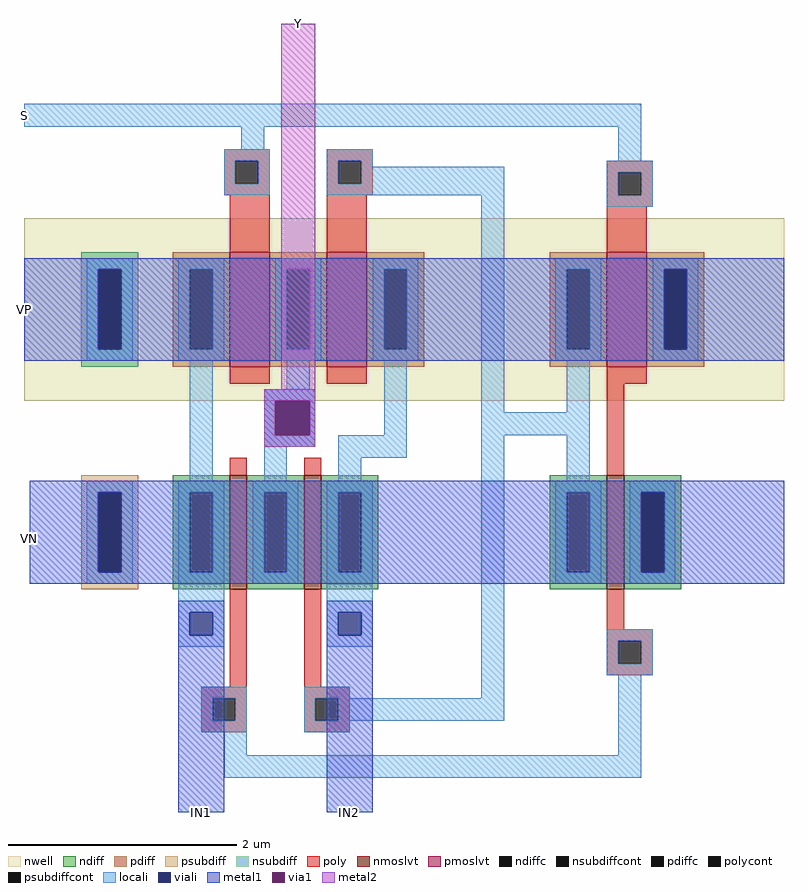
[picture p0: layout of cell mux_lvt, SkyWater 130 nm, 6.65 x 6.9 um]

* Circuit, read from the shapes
.subckt mux_lvt VP VN IN1 IN2 S Y
XM1 Y S IN1 VN sky130_fd_pr__nfet_01v8_lvt w=1 l=0.15
XM2 IN2 n1 Y VN sky130_fd_pr__nfet_01v8_lvt w=1 l=0.15
XM3 VN S n1 VN sky130_fd_pr__nfet_01v8_lvt w=1 l=0.15
XM4 Y S IN1 VP sky130_fd_pr__pfet_01v8_lvt w=1 l=0.35
XM5 IN2 n1 Y VP sky130_fd_pr__pfet_01v8_lvt w=1 l=0.35
XM6 VP S n1 VP sky130_fd_pr__pfet_01v8_lvt w=1 l=0.35
.ends

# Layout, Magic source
magic
tech sky130A
<< nwell >>
rect -180 170 485 330
<< pmoslvt >>
rect 0 200 35 300
rect 85 200 120 300
rect 330 200 365 300
<< nmoslvt >>
rect 0 5 15 105
rect 65 5 80 105
rect 330 5 345 105
<< ndiff >>
rect -50 90 0 105
rect -50 20 -35 90
rect -15 20 0 90
rect -50 5 0 20
rect 15 90 65 105
rect 15 20 30 90
rect 50 20 65 90
rect 15 5 65 20
rect 80 90 130 105
rect 80 20 95 90
rect 115 20 130 90
rect 80 5 130 20
rect 280 90 330 105
rect 280 20 295 90
rect 315 20 330 90
rect 280 5 330 20
rect 345 90 395 105
rect 345 20 360 90
rect 380 20 395 90
rect 345 5 395 20
<< pdiff >>
rect -50 285 0 300
rect -50 215 -35 285
rect -15 215 0 285
rect -50 200 0 215
rect 35 285 85 300
rect 35 215 50 285
rect 70 215 85 285
rect 35 200 85 215
rect 120 285 170 300
rect 120 215 135 285
rect 155 215 170 285
rect 120 200 170 215
rect 280 285 330 300
rect 280 215 295 285
rect 315 215 330 285
rect 280 200 330 215
rect 365 285 415 300
rect 365 215 380 285
rect 400 215 415 285
rect 365 200 415 215
<< ndiffc >>
rect -35 20 -15 90
rect 30 20 50 90
rect 95 20 115 90
rect 295 20 315 90
rect 360 20 380 90
<< pdiffc >>
rect -35 215 -15 285
rect 50 215 70 285
rect 135 215 155 285
rect 295 215 315 285
rect 380 215 400 285
<< psubdiff >>
rect -130 90 -80 105
rect -130 20 -115 90
rect -95 20 -80 90
rect -130 5 -80 20
<< nsubdiff >>
rect -130 285 -80 300
rect -130 215 -115 285
rect -95 215 -80 285
rect -130 200 -80 215
<< psubdiffcont >>
rect -115 20 -95 90
<< nsubdiffcont >>
rect -115 215 -95 285
<< poly >>
rect -5 380 35 390
rect -5 360 5 380
rect 25 360 35 380
rect -5 350 35 360
rect 0 300 35 350
rect 85 380 125 390
rect 85 360 95 380
rect 115 360 125 380
rect 85 350 125 360
rect 330 370 370 380
rect 330 350 340 370
rect 360 350 370 370
rect 85 300 120 350
rect 330 340 370 350
rect 330 300 365 340
rect 0 185 35 200
rect 85 185 120 200
rect 330 185 365 200
rect 0 105 15 120
rect 65 105 80 120
rect 330 105 345 185
rect 0 -80 15 5
rect -25 -90 15 -80
rect -25 -110 -15 -90
rect 5 -110 15 -90
rect -25 -120 15 -110
rect 65 -80 80 5
rect 330 -30 345 5
rect 330 -40 370 -30
rect 330 -60 340 -40
rect 360 -60 370 -40
rect 330 -70 370 -60
rect 65 -90 105 -80
rect 65 -110 75 -90
rect 95 -110 105 -90
rect 65 -120 105 -110
<< polycont >>
rect 5 360 25 380
rect 95 360 115 380
rect 340 350 360 370
rect -15 -110 5 -90
rect 340 -60 360 -40
rect 75 -110 95 -90
<< locali >>
rect -180 410 360 430
rect 10 390 30 410
rect -5 380 35 390
rect -5 360 5 380
rect 25 360 35 380
rect -5 350 35 360
rect 85 380 125 390
rect 340 380 360 410
rect 85 360 95 380
rect 115 375 125 380
rect 115 360 240 375
rect 85 350 240 360
rect -125 285 -85 295
rect -125 215 -115 285
rect -95 215 -85 285
rect -125 205 -85 215
rect -45 285 -5 295
rect -45 215 -35 285
rect -15 215 -5 285
rect -45 205 -5 215
rect 40 285 80 295
rect 40 215 50 285
rect 70 215 80 285
rect 40 205 80 215
rect 125 285 165 295
rect 125 215 135 285
rect 155 215 165 285
rect 125 205 165 215
rect -35 100 -15 205
rect 50 180 70 205
rect 30 170 75 180
rect 30 140 40 170
rect 70 140 75 170
rect 135 140 155 205
rect 30 130 75 140
rect 30 100 50 130
rect 95 120 155 140
rect 220 160 240 350
rect 330 370 370 380
rect 330 350 340 370
rect 360 350 370 370
rect 330 340 370 350
rect 285 285 325 295
rect 285 215 295 285
rect 315 215 325 285
rect 285 205 325 215
rect 370 285 410 295
rect 370 215 380 285
rect 400 215 410 285
rect 370 205 410 215
rect 295 160 315 205
rect 220 140 315 160
rect 95 100 115 120
rect -125 90 -85 100
rect -125 20 -115 90
rect -95 20 -85 90
rect -125 10 -85 20
rect -45 90 -5 100
rect -45 20 -35 90
rect -15 20 -5 90
rect -45 -15 -5 20
rect 20 90 60 100
rect 20 20 30 90
rect 50 20 60 90
rect 20 10 60 20
rect 85 90 125 100
rect 85 20 95 90
rect 115 20 125 90
rect -45 -35 -35 -15
rect -15 -35 -5 -15
rect -45 -45 -5 -35
rect 85 -15 125 20
rect 85 -35 95 -15
rect 115 -35 125 -15
rect 85 -45 125 -35
rect -25 -90 15 -80
rect -25 -110 -15 -90
rect 5 -110 15 -90
rect -25 -120 15 -110
rect 65 -90 105 -80
rect 220 -90 240 140
rect 295 100 315 140
rect 285 90 325 100
rect 285 20 295 90
rect 315 20 325 90
rect 285 10 325 20
rect 350 90 390 100
rect 350 20 360 90
rect 380 20 390 90
rect 350 10 390 20
rect 330 -40 370 -30
rect 330 -60 340 -40
rect 360 -60 370 -40
rect 330 -70 370 -60
rect 65 -110 75 -90
rect 95 -110 240 -90
rect 65 -120 105 -110
rect -5 -140 15 -120
rect 340 -140 360 -70
rect -5 -160 360 -140
<< viali >>
rect -115 215 -95 285
rect 40 140 70 170
rect 380 215 400 285
rect -115 20 -95 90
rect -35 -35 -15 -15
rect 95 -35 115 -15
rect 360 20 380 90
<< metal1 >>
rect -180 285 485 295
rect -180 215 -115 285
rect -95 215 380 285
rect 400 215 485 285
rect -180 205 485 215
rect 30 170 75 180
rect 30 140 40 170
rect 70 140 75 170
rect 30 130 75 140
rect -175 90 485 100
rect -175 20 -115 90
rect -95 20 360 90
rect 380 20 485 90
rect -175 10 485 20
rect -45 -15 -5 -5
rect -45 -35 -35 -15
rect -15 -35 -5 -15
rect -45 -190 -5 -35
rect 85 -15 125 -5
rect 85 -35 95 -15
rect 115 -35 125 -15
rect 85 -190 125 -35
<< via1 >>
rect 40 140 70 170
<< metal2 >>
rect 45 180 75 500
rect 30 170 75 180
rect 30 140 40 170
rect 70 140 75 170
rect 30 130 75 140
<< labels >>
rlabel metal1 -180 250 -180 250 7 VP
port 1 w
rlabel metal1 -175 50 -175 50 7 VN
port 2 w
rlabel metal1 -25 -190 -25 -190 5 IN1
port 3 s
rlabel metal1 105 -190 105 -190 5 IN2
port 4 s
rlabel locali -180 420 -180 420 7 S
port 5 w
rlabel metal2 60 500 60 500 1 Y
port 6 n
<< end >>
